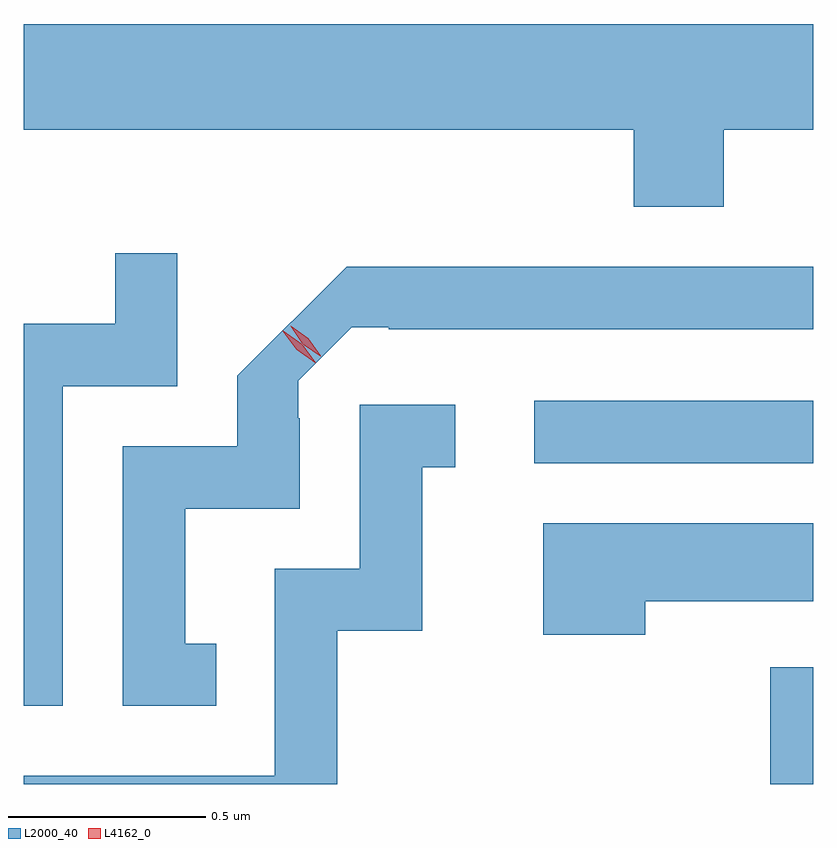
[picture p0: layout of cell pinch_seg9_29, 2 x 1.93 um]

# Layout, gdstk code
import gdstk
lib = gdstk.Library(unit=1e-6, precision=1e-09)
def R(c, l, rs):  # rectangles x0, y0, x1, y1
    for r in rs: c.add(gdstk.rectangle(r[:2], r[2:], *l))
def P(c, l, *ps):  # polygons
    for p in ps: c.add(gdstk.Polygon(p, *l))
L2000_40 = (2000, 40)
L4162_0 = (4162, 0)

pinch_seg9_29 = lib.new_cell('pinch_seg9_29')
R(pinch_seg9_29, L2000_40, [(850.021,1970.178,850.13,1970.474), (849.423,1970.991,850.13,1971.149)])
P(pinch_seg9_29, L2000_40, [(849.904,1971.836),(850.13,1971.836),(850.13,1972.104),(848.13,1972.104),(848.13,1971.836),(849.676,1971.836),(849.676,1971.641),(849.904,1971.641)],
  [(848.229,1971.186),(848.519,1971.186),(848.519,1971.523),(848.361,1971.523),(848.361,1971.344),(848.13,1971.344),(848.13,1970.376),(848.229,1970.376)],
  [(848.618,1970.534),(848.539,1970.534),(848.539,1970.876),(848.829,1970.876),(848.829,1971.105),(848.825,1971.105),(848.825,1971.2),(848.961,1971.335),(849.055,1971.335),(849.055,1971.331),(850.13,1971.331),(850.13,1971.489),(848.948,1971.489),(848.671,1971.213),(848.671,1971.034),(848.381,1971.034),(848.381,1970.376),(848.618,1970.376)],
  [(848.924,1970.566),(849.139,1970.566),(849.139,1970.981),(849.223,1970.981),(849.223,1971.139),(848.981,1971.139),(848.981,1970.724),(848.766,1970.724),(848.766,1970.199),(848.13,1970.199),(848.13,1970.178),(848.924,1970.178)],
  [(849.704,1970.641),(850.13,1970.641),(850.13,1970.839),(849.446,1970.839),(849.446,1970.556),(849.704,1970.556)])
P(pinch_seg9_29, L4162_0, [(848.869,1971.244),(848.821,1971.278),(848.786,1971.325),(848.786,1971.326),(848.787,1971.326),(848.835,1971.292),(848.869,1971.245),(848.869,1971.244)],
  [(848.881,1971.262),(848.837,1971.293),(848.806,1971.338),(848.806,1971.339),(848.806,1971.339),(848.851,1971.308),(848.882,1971.263),(848.882,1971.262)])

lib.write_gds('pinch_seg9_29.gds')
